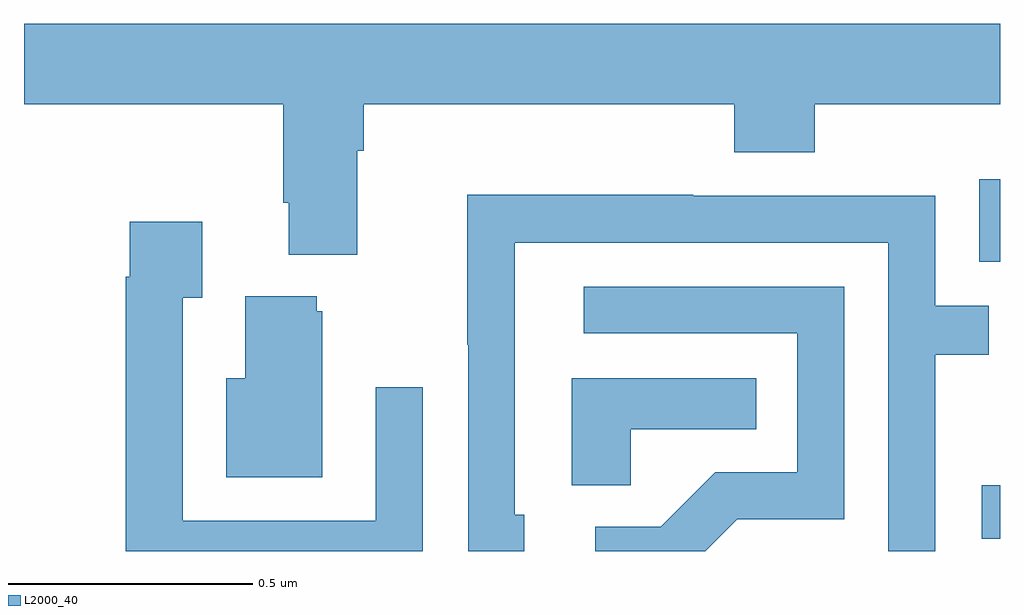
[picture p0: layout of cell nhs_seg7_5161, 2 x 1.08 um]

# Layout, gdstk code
import gdstk
lib = gdstk.Library(unit=1e-6, precision=1e-09)
def R(c, l, rs):  # rectangles x0, y0, x1, y1
    for r in rs: c.add(gdstk.rectangle(r[:2], r[2:], *l))
def P(c, l, *ps):  # polygons
    for p in ps: c.add(gdstk.Polygon(p, *l))
L2000_40 = (2000, 40)

nhs_seg7_5161 = lib.new_cell('nhs_seg7_5161')
R(nhs_seg7_5161, L2000_40, [(183.963,1033.025,184,1033.135), (183.957,1033.593,184,1033.762)])
P(nhs_seg7_5161, L2000_40, [(182.683,1033.82),(182.696,1033.82),(182.696,1033.916),(183.455,1033.916),(183.455,1033.817),(183.62,1033.817),(183.62,1033.916),(184,1033.916),(184,1034.08),(182,1034.08),(182,1033.916),(182.531,1033.916),(182.531,1033.714),(182.543,1033.714),(182.543,1033.607),(182.683,1033.607)],
  [(183.025,1033.074),(183.006,1033.074),(183.006,1033.632),(183.771,1033.632),(183.771,1033),(183.867,1033),(183.867,1033.402),(183.977,1033.402),(183.977,1033.503),(183.867,1033.503),(183.867,1033.728),(183.371,1033.728),(183.371,1033.73),(182.908,1033.73),(182.908,1033.423),(182.91,1033.423),(182.91,1033),(183.025,1033)],
  [(182.817,1033.336),(182.721,1033.336),(182.721,1033.062),(182.325,1033.062),(182.325,1033.519),(182.365,1033.519),(182.365,1033.675),(182.217,1033.675),(182.217,1033.562),(182.209,1033.562),(182.209,1033),(182.817,1033)],
  [(183.462,1033.065),(183.681,1033.065),(183.681,1033.542),(183.147,1033.542),(183.147,1033.446),(183.585,1033.446),(183.585,1033.161),(183.416,1033.161),(183.305,1033.05),(183.171,1033.05),(183.171,1033),(183.396,1033)],
  [(182.611,1033.491),(182.6,1033.491),(182.6,1033.522),(182.453,1033.522),(182.453,1033.354),(182.414,1033.354),(182.414,1033.151),(182.611,1033.151)],
  [(183.243,1033.25),(183.5,1033.25),(183.5,1033.354),(183.122,1033.354),(183.122,1033.135),(183.243,1033.135)])

lib.write_gds('nhs_seg7_5161.gds')
